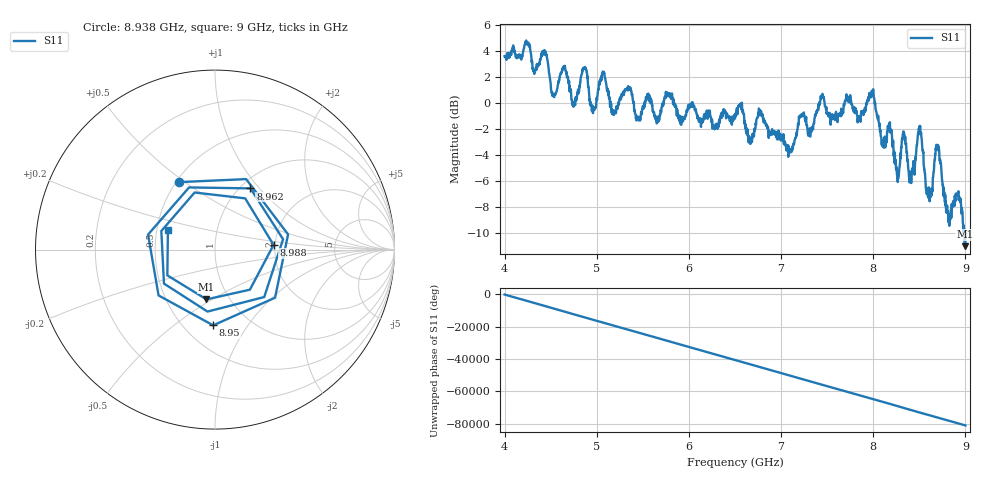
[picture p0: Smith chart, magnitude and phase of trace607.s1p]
! Created with skrf 1.8.0 (http://scikit-rf.org).
# Hz S RI R 50.0
!freq ReS11 ImS11
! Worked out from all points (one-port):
!   1601 points, 4 GHz to 9 GHz, reference 50 ohm
!   lowest |S11| = -11.0 dB at 8.994 GHz (marker M1), VSWR 1.78, Z = 39.2 - j23.6 ohm
!   |S11| at or under -10 dB: 8.989031 GHz to end of sweep
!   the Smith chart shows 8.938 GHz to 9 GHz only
!   S11 on the Smith chart (normalised r, x): 8.938 GHz: 0.52, +0.47; 8.95 GHz: 0.69, -0.70; 8.962 GHz: 1.11, +0.90; 8.988 GHz: 1.96, +0.11; 9 GHz: 0.57, +0.14
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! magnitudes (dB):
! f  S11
! 4 GHz  3.6
! 4.431 GHz  4.0
! 4.534 GHz  0.5
! 4.625 GHz  2.7
! 4.75 GHz  0.0
! 4.869 GHz  2.7
! 4.959 GHz  -0.8
! 5.066 GHz  2.4
! 5.25 GHz  0.4
! 5.875 GHz  -0.7
! 6.5 GHz  -1.2
! 7.125 GHz  -3.3
! 7.438 GHz  0.4
! 7.75 GHz  0.6
! 7.988 GHz  0.8
! 8.262 GHz  -5.8
! 8.328 GHz  -2.2
! 8.375 GHz  -4.4
! 8.503 GHz  -1.8
! 8.597 GHz  -7.2
! 8.694 GHz  -3.5
! 8.809 GHz  -8.3
! 8.938 GHz  -7.4
! 8.95 GHz  -7.5
! 8.962 GHz  -8.1
! 8.988 GHz  -9.7
! 8.994 GHz  -11.0
! 9 GHz  -10.9
